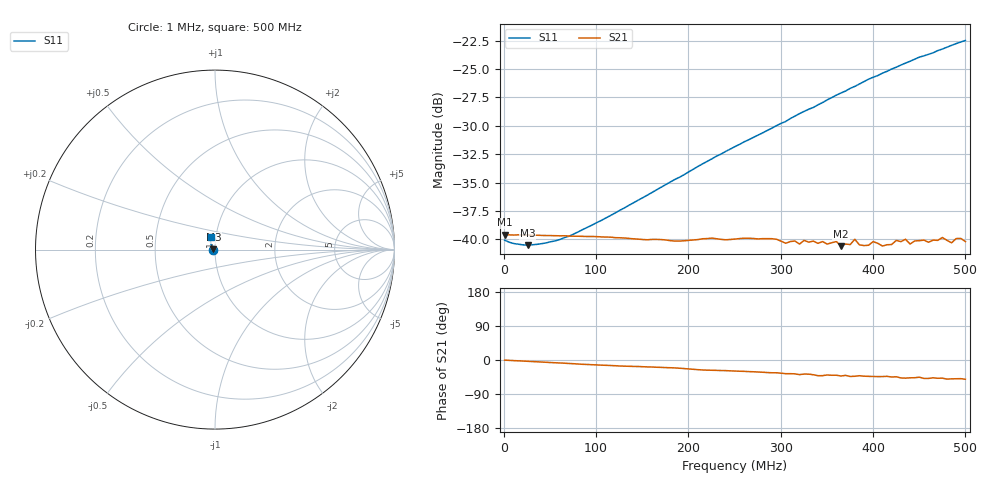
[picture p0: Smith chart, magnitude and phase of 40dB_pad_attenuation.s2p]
# HZ S RI R 50
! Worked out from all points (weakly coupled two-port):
!   101 points, 1 MHz to 500 MHz, reference 50 ohm
!   highest |S21| = -39.59 dB at 1 MHz (marker M1); lowest = -40.6 dB at 365.3 MHz (marker M2)
!   lowest |S11| = -40.5 dB at 25.95 MHz (marker M3), VSWR 1.02, Z = 49.1 + j0.188 ohm
!   |S11| at or under -10 dB: start of sweep to end of sweep
!   S12 and S22 are empty: the file has one direction only
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1000000  -0.00993 0.000225  0.0105 -4.69e-05  0 0  0 0
2.595e7  -0.00924 0.00191  0.0104 -0.000631  0 0  0 0
5.589e7  -0.00927 0.00333  0.0103 -0.00132  0 0  0 0
8.583e7  -0.00999 0.00474  0.0101 -0.00204  0 0  0 0
1.7066e8  -0.014 0.00963  0.00941 -0.00334  0 0  0 0
2.505e8  -0.0185 0.0177  0.00877 -0.00489  0 0  0 0
2.9042e8  -0.0204 0.0232  0.00838 -0.00559  0 0  0 0
3.2036e8  -0.0216 0.0285  0.00746 -0.00595  0 0  0 0
3.3533e8  -0.0227 0.0306  0.00765 -0.00617  0 0  0 0
3.6028e8  -0.0236 0.0362  0.00748 -0.00632  0 0  0 0
3.6527e8  -0.0237 0.0372  0.00692 -0.00627  0 0  0 0
3.8024e8  -0.0245 0.0403  0.00733 -0.00682  0 0  0 0
3.9022e8  -0.0248 0.0429  0.00691 -0.00637  0 0  0 0
4.002e8  -0.0249 0.0453  0.0071 -0.00673  0 0  0 0
4.2016e8  -0.0253 0.0502  0.00672 -0.00671  0 0  0 0
4.2515e8  -0.0253 0.0514  0.00709 -0.00691  0 0  0 0
4.3513e8  -0.0254 0.054  0.00672 -0.00742  0 0  0 0
4.4012e8  -0.0253 0.0553  0.00651 -0.00699  0 0  0 0
4.7505e8  -0.0247 0.0643  0.00683 -0.00756  0 0  0 0
4.8503e8  -0.0248 0.0671  0.00625 -0.00737  0 0  0 0
4.9002e8  -0.0246 0.0685  0.00656 -0.00767  0 0  0 0
5e8  -0.0243 0.0711  0.00619 -0.00758  0 0  0 0
